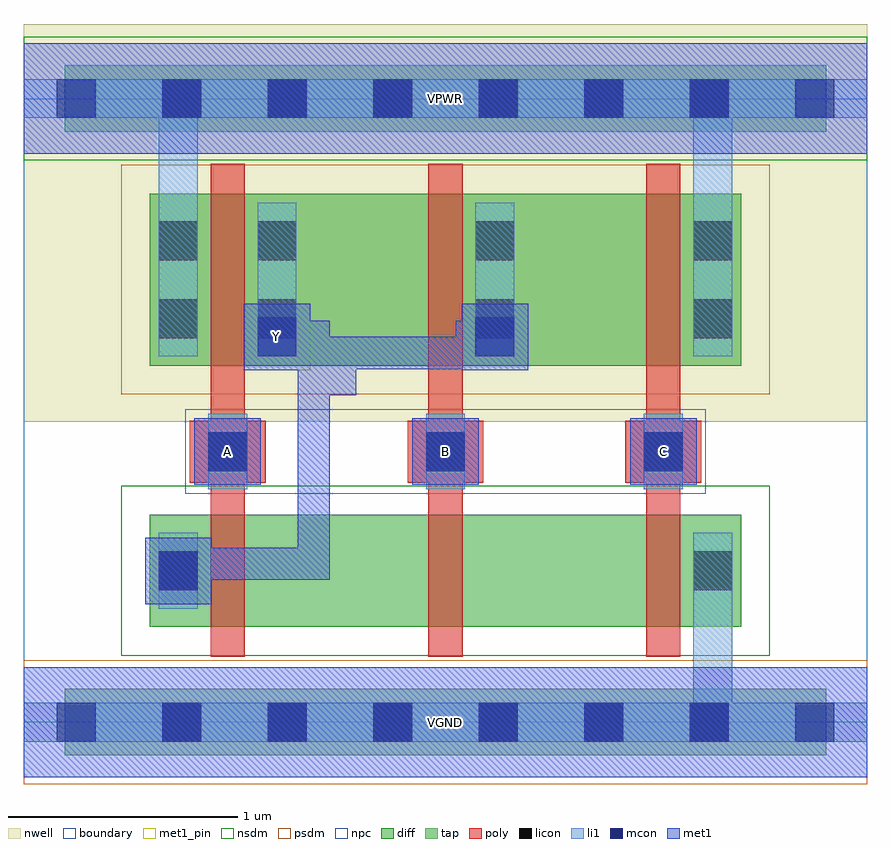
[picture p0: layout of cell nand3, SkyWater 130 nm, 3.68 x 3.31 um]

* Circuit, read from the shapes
.subckt nand3 A B C VGND VPWR Y
XM1 n1 A Y VGND sky130_fd_pr__nfet_01v8 w=0.49 l=0.15
XM2 n2 B n1 VGND sky130_fd_pr__nfet_01v8 w=0.49 l=0.15
XM3 VGND C n2 VGND sky130_fd_pr__nfet_01v8 w=0.49 l=0.15
XM4 Y A VPWR VPWR sky130_fd_pr__pfet_01v8 w=0.75 l=0.15
XM5 Y B Y VPWR sky130_fd_pr__pfet_01v8 w=0.75 l=0.15
XM6 VPWR C Y VPWR sky130_fd_pr__pfet_01v8 w=0.75 l=0.15
.ends

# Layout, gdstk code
import gdstk
lib = gdstk.Library(unit=1e-6, precision=1e-09)
def R(c, l, rs):  # rectangles x0, y0, x1, y1
    for r in rs: c.add(gdstk.rectangle(r[:2], r[2:], *l))
def A(c, l, x, y, w, h, nx, ny, dx, dy):  # array of equal rectangles
    R(c, l, [(x+i*dx, y+j*dy, x+i*dx+w, y+j*dy+h) for i in range(nx) for j in range(ny)])
nwell = (64, 20)
diff = (65, 20)
tap = (65, 44)
poly = (66, 20)
licon = (66, 44)
li1 = (67, 20)
mcon = (67, 44)
met1_pin = (68, 16)
met1 = (68, 20)
nsdm = (93, 44)
psdm = (94, 20)
npc = (95, 20)
boundary = (235, 4)

nand3 = lib.new_cell('nand3')
R(nand3, nwell, [(0,1.31,3.68,3.045)])
R(nand3, diff, [(0.55,0.415,3.13,0.905), (0.55,1.555,3.13,2.305)])
R(nand3, tap, [(0.18,-0.145,3.5,0.145), (0.18,2.575,3.5,2.865)])
A(nand3, poly, 0.815, 0.285, 0.15, 2.15, 3, 1, 0.95, 0)
A(nand3, poly, 0.725, 1.045, 0.33, 0.27, 3, 1, 0.95, 0)
A(nand3, licon, 0.605, -0.085, 0.17, 0.17, 6, 2, 0.46, 2.72)
A(nand3, licon, 0.805, 1.095, 0.17, 0.17, 3, 1, 0.95, 0)
A(nand3, licon, 1.02, 1.675, 0.17, 0.17, 3, 2, 0.95, 0.34)
R(nand3, licon, [(0.59,0.575,0.76,0.745), (2.92,0.575,3.09,0.745), (0.59,1.675,0.76,1.845), (0.59,2.015,0.76,2.185)])
A(nand3, li1, 0.805, 1.015, 0.17, 0.33, 3, 1, 0.95, 0)
A(nand3, li1, 1.02, 1.595, 0.17, 0.67, 3, 1, 0.95, 0)
R(nand3, li1, [(0,-0.085,3.68,0.085), (2.92,-0.085,3.09,0.825), (0.59,0.495,0.76,0.825), (2.92,0.495,3.09,0.825), (0.59,1.595,0.76,2.265), (0.59,1.595,0.76,2.805), (2.92,1.595,3.09,2.805), (0,2.635,3.68,2.805)])
A(nand3, mcon, 0.145, -0.085, 0.17, 0.17, 8, 2, 0.46, 2.72)
A(nand3, mcon, 0.805, 1.095, 0.17, 0.17, 3, 1, 0.95, 0)
R(nand3, mcon, [(0.59,0.575,0.76,0.745), (1.02,1.595,1.19,1.765), (1.97,1.595,2.14,1.765)])
A(nand3, met1_pin, 0.745, 1.035, 0.29, 0.29, 3, 1, 0.95, 0)
R(nand3, met1_pin, [(0,-0.24,3.68,0.24), (0.96,1.535,1.25,1.825), (0,2.48,3.68,2.96)])
A(nand3, met1, 0.745, 1.035, 0.29, 0.29, 3, 1, 0.95, 0)
R(nand3, met1, [(0,-0.24,3.68,0.24), (0.53,0.515,0.82,0.805), (0.62,0.62,0.76,0.76), (0.62,0.62,1.335,0.76), (1.195,0.62,1.335,1.565), (1.195,1.425,1.335,1.75), (1.195,1.425,1.45,1.565), (1.31,1.425,1.45,1.68), (0.96,1.535,1.25,1.825), (1.91,1.535,2.2,1.825), (1.31,1.54,2.025,1.68), (1.885,1.54,2.025,1.75), (1.035,1.61,1.335,1.75), (1.885,1.61,2.125,1.75), (0,2.48,3.68,2.96)])
R(nand3, nsdm, [(0.425,0.29,3.255,1.03), (0,2.45,3.68,2.99)])
R(nand3, psdm, [(0,-0.27,3.68,0.27), (0.425,1.43,3.255,2.43)])
R(nand3, npc, [(0.705,0.995,2.975,1.365)])
R(nand3, boundary, [(0,0,3.68,2.72)])
nand3.add(gdstk.Label('A', (0.89,1.18), layer=68, texttype=5))
nand3.add(gdstk.Label('B', (1.84,1.18), layer=68, texttype=5))
nand3.add(gdstk.Label('C', (2.79,1.18), layer=68, texttype=5))
nand3.add(gdstk.Label('Y', (1.105,1.68), layer=68, texttype=5))
nand3.add(gdstk.Label('VPWR', (1.84,2.72), layer=68, texttype=5))
nand3.add(gdstk.Label('VGND', (1.84,0), layer=68, texttype=5))
nand3.add(gdstk.Label('A', (0.89,1.18), layer=68, texttype=16))
nand3.add(gdstk.Label('B', (1.84,1.18), layer=68, texttype=16))
nand3.add(gdstk.Label('C', (2.79,1.18), layer=68, texttype=16))
nand3.add(gdstk.Label('Y', (1.105,1.68), layer=68, texttype=16))
nand3.add(gdstk.Label('VPWR', (1.84,2.72), layer=68, texttype=16))
nand3.add(gdstk.Label('VGND', (1.84,0), layer=68, texttype=16))

lib.write_gds('nand3.gds')
